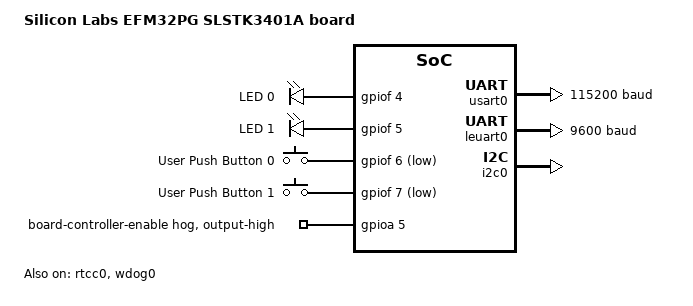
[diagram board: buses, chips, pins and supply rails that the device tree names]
/*
 * Copyright (c) 2020 Rafael Dias Menezes <rdmeneze@gmail.com>
 *
 * SPDX-License-Identifier: Apache-2.0
 */

#include <zephyr/dt-bindings/input/input-event-codes.h>
#include "slstk3401a-pinctrl.dtsi"

/ {
	model = "Silicon Labs EFM32PG SLSTK3401A board";

	chosen {
		zephyr,console = &usart0;
		zephyr,shell-uart = &usart0;
		zephyr,sram = &sram0;
		zephyr,flash = &flash0;
	};

	/* These aliases are provided for compatibility with samples */
	aliases {
		led0 = &led0;
		led1 = &led1;
		sw0 = &button0;
		sw1 = &button1;
		watchdog0 = &wdog0;
	};

	leds {
		compatible = "gpio-leds";
		led0: led_0 {
			gpios = <&gpiof 4 0>;
			label = "LED 0";
		};
		led1: led_1 {
			gpios = <&gpiof 5 0>;
			label = "LED 1";
		};
	};

	buttons {
		compatible = "gpio-keys";
		button0: button_0 {
			/* gpio flags need validation */
			gpios = <&gpiof 6 GPIO_ACTIVE_LOW>;
			label = "User Push Button 0";
			zephyr,code = <INPUT_KEY_0>;
		};
		button1: button_1 {
			/* gpio flags need validation */
			gpios = <&gpiof 7 GPIO_ACTIVE_LOW>;
			label = "User Push Button 1";
			zephyr,code = <INPUT_KEY_1>;
		};
	};
};

&cpu0 {
	clock-frequency = <40000000>;
};

&usart0 {
	current-speed = <115200>;
	pinctrl-0 = <&usart0_default>;
	pinctrl-names = "default";
	status = "okay";
};

&leuart0 {
	current-speed = <9600>;
	location-rx = <GECKO_LOCATION(18) GECKO_PORT_D GECKO_PIN(11)>;
	location-tx = <GECKO_LOCATION(18) GECKO_PORT_D GECKO_PIN(10)>;
	status = "okay";
};

&i2c0 {
	pinctrl-0 = <&i2c0_default>;
	pinctrl-names = "default";
	status = "okay";
};

&rtcc0 {
	prescaler = <1>;
	status = "okay";
};

&gpio {
	location-swo = <0>;
	status = "okay";
};

&gpioa {
	status = "okay";

	board-controller-enable {
		gpio-hog;
		gpios = <5 GPIO_ACTIVE_HIGH>;
		output-high;
	};
};

&gpiob {
	status = "okay";
};

&gpioc {
	status = "okay";
};

&gpiod {
	status = "okay";
};

&gpiof {
	status = "okay";
};

&wdog0 {
	status = "okay";
};

&flash0 {

	partitions {
		compatible = "fixed-partitions";
		#address-cells = <1>;
		#size-cells = <1>;

		/* Set 6Kb of storage at the end of the 256Kb of flash */
		storage_partition: partition@3e800 {
			label = "storage";
			reg = <0x0003e800 0x00001800>;
		};

	};
};
